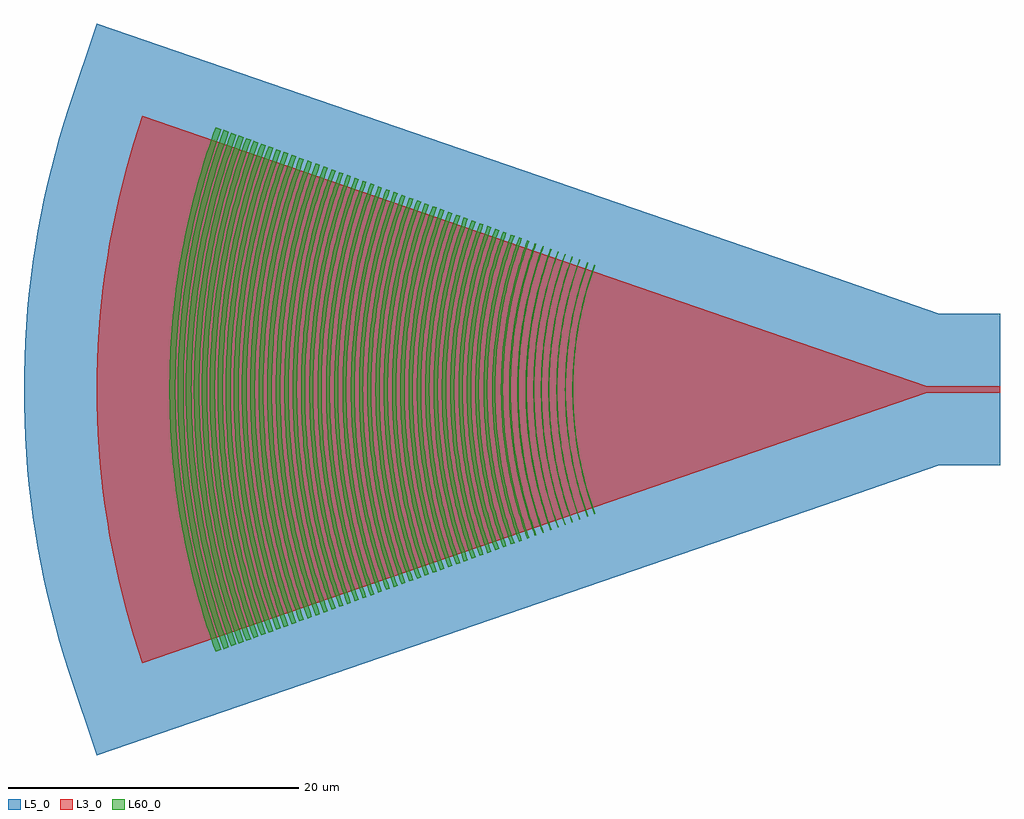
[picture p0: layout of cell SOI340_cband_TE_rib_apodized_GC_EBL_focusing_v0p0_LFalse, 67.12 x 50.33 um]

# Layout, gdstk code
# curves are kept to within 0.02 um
import gdstk
lib = gdstk.Library(unit=1e-6, precision=1e-09)
def P(c, l, *ps):  # polygons
    for p in ps: c.add(gdstk.Polygon(p, *l))
L3_0 = (3, 0)
L5_0 = (5, 0)
L60_0 = (60, 0)

soi340_cband_te_rib_apod = lib.new_cell('SOI340_cband_TE_rib_apodized_GC_EBL_focusing_v0p0_LFalse')
P(soi340_cband_te_rib_apod, L3_0, [(-58.971,-18.809),(-59.595,-16.891),(-60.403,-13.976),(-60.857,-12.011),(-61.408,-9.038),(-61.688,-7.041),(-61.899,-5.035),(-62.04,-3.024),(-62.119,0),(-62.04,3.024),(-61.899,5.035),(-61.688,7.041),(-61.408,9.038),(-60.857,12.011),(-60.403,13.976),(-59.595,16.891),(-58.971,18.809),(-5,0.225),(0,0.225),(0,-0.225),(-5,-0.225)])
P(soi340_cband_te_rib_apod, L5_0, [(-62.071,-25.164),(-62.125,-25.138),(-64.377,-18.353),(-65.255,-15.186),(-65.967,-11.975),(-66.509,-8.734),(-66.776,-6.562),(-67.033,-3.287),(-67.119,0),(-67.033,3.287),(-66.776,6.562),(-66.509,8.734),(-65.967,11.975),(-65.255,15.186),(-64.688,17.3),(-64.046,19.4),(-62.125,25.138),(-62.071,25.164),(-4.163,5.225),(0,5.225),(0,-5.225),(-4.163,-5.225)])
P(soi340_cband_te_rib_apod, L60_0, [(-27.895,-8.571),(-28.042,-8.159),(-28.247,-7.536),(-28.437,-6.908),(-28.553,-6.486),(-28.813,-5.424),(-28.947,-4.781),(-29.026,-4.351),(-29.131,-3.704),(-29.221,-3.054),(-29.312,-2.184),(-29.383,-1.093),(-29.407,0),(-29.383,1.093),(-29.312,2.184),(-29.221,3.054),(-29.131,3.704),(-29.026,4.351),(-28.947,4.781),(-28.813,5.424),(-28.553,6.486),(-28.437,6.908),(-28.247,7.536),(-28.042,8.159),(-27.895,8.571),(-27.839,8.551),(-28.055,7.933),(-28.255,7.309),(-28.438,6.681),(-28.604,6.048),(-28.801,5.198),(-29.004,4.126),(-29.161,3.047),(-29.252,2.179),(-29.323,1.09),(-29.347,0),(-29.323,-1.09),(-29.252,-2.179),(-29.161,-3.047),(-29.004,-4.126),(-28.801,-5.198),(-28.604,-6.048),(-28.438,-6.681),(-28.255,-7.309),(-28.055,-7.933),(-27.839,-8.551)],
  [(-28.373,-8.744),(-28.594,-8.113),(-28.731,-7.688),(-28.863,-7.262),(-29.044,-6.618),(-29.309,-5.534),(-29.402,-5.097),(-29.526,-4.439),(-29.634,-3.779),(-29.696,-3.337),(-29.751,-2.895),(-29.818,-2.228),(-29.891,-1.116),(-29.915,0),(-29.891,1.116),(-29.818,2.228),(-29.751,2.895),(-29.696,3.337),(-29.634,3.779),(-29.526,4.439),(-29.402,5.097),(-29.309,5.534),(-29.044,6.618),(-28.863,7.262),(-28.731,7.688),(-28.594,8.113),(-28.373,8.744),(-28.317,8.724),(-28.537,8.094),(-28.74,7.458),(-28.927,6.817),(-29.097,6.171),(-29.298,5.303),(-29.505,4.21),(-29.637,3.329),(-29.758,2.223),(-29.831,1.113),(-29.855,0),(-29.831,-1.113),(-29.758,-2.223),(-29.637,-3.329),(-29.505,-4.21),(-29.298,-5.303),(-29.097,-6.171),(-28.927,-6.817),(-28.74,-7.458),(-28.537,-8.094),(-28.317,-8.724)],
  [(-28.925,-8.945),(-29.078,-8.515),(-29.292,-7.865),(-29.426,-7.429),(-29.612,-6.77),(-29.883,-5.661),(-30.023,-4.99),(-30.106,-4.542),(-30.279,-3.414),(-30.335,-2.961),(-30.404,-2.279),(-30.478,-1.141),(-30.494,-0.685),(-30.503,0),(-30.494,0.685),(-30.478,1.141),(-30.404,2.279),(-30.36,2.734),(-30.279,3.414),(-30.106,4.542),(-30.023,4.99),(-29.883,5.661),(-29.612,6.77),(-29.49,7.21),(-29.292,7.865),(-29.078,8.515),(-28.925,8.945),(-28.869,8.925),(-29.094,8.28),(-29.303,7.63),(-29.612,6.534),(-29.873,5.426),(-30.047,4.532),(-30.22,3.406),(-30.344,2.274),(-30.418,1.138),(-30.434,0.683),(-30.443,0),(-30.434,-0.683),(-30.418,-1.138),(-30.344,-2.274),(-30.22,-3.406),(-30.047,-4.532),(-29.873,-5.426),(-29.612,-6.534),(-29.303,-7.63),(-29.094,-8.28),(-28.869,-8.925)],
  [(-29.443,-9.134),(-29.674,-8.474),(-29.818,-8.031),(-30.02,-7.362),(-30.144,-6.912),(-30.316,-6.235),(-30.421,-5.78),(-30.518,-5.325),(-30.648,-4.637),(-30.826,-3.486),(-30.883,-3.024),(-30.953,-2.327),(-31.029,-1.165),(-31.045,-0.7),(-31.054,0),(-31.045,0.7),(-31.029,1.165),(-30.953,2.327),(-30.883,3.024),(-30.826,3.486),(-30.648,4.637),(-30.518,5.325),(-30.421,5.78),(-30.316,6.235),(-30.144,6.912),(-30.02,7.362),(-29.818,8.031),(-29.674,8.474),(-29.443,9.134),(-29.387,9.114),(-29.617,8.455),(-29.83,7.791),(-30.025,7.121),(-30.202,6.446),(-30.412,5.54),(-30.629,4.398),(-30.766,3.478),(-30.823,3.017),(-30.893,2.322),(-30.969,1.162),(-30.985,0.698),(-30.994,0),(-30.985,-0.698),(-30.969,-1.162),(-30.893,-2.322),(-30.823,-3.017),(-30.766,-3.478),(-30.629,-4.398),(-30.412,-5.54),(-30.202,-6.446),(-30.025,-7.121),(-29.83,-7.791),(-29.617,-8.455),(-29.387,-9.114)],
  [(-29.928,-9.31),(-30.087,-8.863),(-30.31,-8.186),(-30.516,-7.504),(-30.642,-7.046),(-30.925,-5.892),(-31.024,-5.427),(-31.156,-4.727),(-31.235,-4.258),(-31.337,-3.553),(-31.395,-3.082),(-31.467,-2.372),(-31.504,-1.899),(-31.544,-1.188),(-31.561,-0.713),(-31.57,0),(-31.561,0.713),(-31.544,1.188),(-31.504,1.899),(-31.467,2.372),(-31.395,3.082),(-31.337,3.553),(-31.235,4.258),(-31.156,4.727),(-31.024,5.427),(-30.925,5.892),(-30.642,7.046),(-30.516,7.504),(-30.31,8.186),(-30.087,8.863),(-29.928,9.31),(-29.872,9.29),(-30.106,8.619),(-30.323,7.942),(-30.522,7.259),(-30.703,6.571),(-30.814,6.11),(-30.965,5.415),(-31.137,4.483),(-31.212,4.015),(-31.308,3.31),(-31.407,2.367),(-31.444,1.895),(-31.484,1.185),(-31.501,0.711),(-31.51,0),(-31.501,-0.711),(-31.484,-1.185),(-31.444,-1.895),(-31.407,-2.367),(-31.308,-3.31),(-31.212,-4.015),(-31.137,-4.483),(-30.965,-5.415),(-30.814,-6.11),(-30.703,-6.571),(-30.522,-7.259),(-30.323,-7.942),(-30.106,-8.619),(-29.872,-9.29)],
  [(-30.416,-9.487),(-30.655,-8.802),(-30.804,-8.342),(-31.014,-7.647),(-31.143,-7.18),(-31.264,-6.712),(-31.431,-6.004),(-31.531,-5.531),(-31.666,-4.817),(-31.783,-4.101),(-31.882,-3.38),(-31.983,-2.418),(-32.021,-1.935),(-32.062,-1.21),(-32.079,-0.727),(-32.088,0),(-32.079,0.727),(-32.062,1.21),(-32.021,1.935),(-31.983,2.418),(-31.882,3.38),(-31.783,4.101),(-31.666,4.817),(-31.531,5.531),(-31.431,6.004),(-31.264,6.712),(-31.143,7.18),(-31.014,7.647),(-30.804,8.342),(-30.655,8.802),(-30.416,9.487),(-30.359,9.467),(-30.598,8.783),(-30.818,8.093),(-31.021,7.397),(-31.206,6.697),(-31.423,5.755),(-31.519,5.282),(-31.648,4.569),(-31.759,3.852),(-31.822,3.373),(-31.923,2.413),(-31.961,1.931),(-32.002,1.207),(-32.019,0.725),(-32.028,0),(-32.019,-0.725),(-32.002,-1.207),(-31.961,-1.931),(-31.923,-2.413),(-31.822,-3.373),(-31.759,-3.852),(-31.648,-4.569),(-31.519,-5.282),(-31.423,-5.755),(-31.206,-6.697),(-31.021,-7.397),(-30.818,-8.093),(-30.598,-8.783),(-30.359,-9.467)],
  [(-30.921,-9.671),(-31.317,-8.503),(-31.662,-7.319),(-31.956,-6.121),(-32.197,-4.911),(-32.384,-3.691),(-32.519,-2.464),(-32.599,-1.234),(-32.626,0),(-32.599,1.234),(-32.519,2.464),(-32.384,3.691),(-32.197,4.911),(-31.956,6.121),(-31.662,7.319),(-31.317,8.503),(-30.921,9.671),(-30.842,9.643),(-31.085,8.946),(-31.31,8.243),(-31.644,7.059),(-31.926,5.862),(-32.155,4.654),(-32.301,3.68),(-32.435,2.457),(-32.515,1.23),(-32.542,0),(-32.515,-1.23),(-32.435,-2.457),(-32.301,-3.68),(-32.155,-4.654),(-31.926,-5.862),(-31.644,-7.059),(-31.31,-8.243),(-31.085,-8.946),(-30.842,-9.643)],
  [(-31.459,-9.867),(-31.863,-8.675),(-32.215,-7.468),(-32.514,-6.245),(-32.76,-5.01),(-32.951,-3.766),(-33.089,-2.515),(-33.171,-1.258),(-33.198,0),(-33.171,1.258),(-33.089,2.515),(-32.951,3.766),(-32.76,5.01),(-32.514,6.245),(-32.215,7.468),(-31.863,8.675),(-31.459,9.867),(-31.373,9.836),(-31.776,8.648),(-31.993,7.927),(-32.191,7.201),(-32.479,5.98),(-32.713,4.747),(-32.893,3.505),(-32.998,2.507),(-33.08,1.254),(-33.107,0),(-33.08,-1.254),(-32.998,-2.507),(-32.893,-3.505),(-32.713,-4.747),(-32.479,-5.98),(-32.191,-7.201),(-31.993,-7.927),(-31.776,-8.648),(-31.373,-9.836)],
  [(-31.986,-10.06),(-32.399,-8.845),(-32.758,-7.613),(-33.063,-6.366),(-33.313,-5.107),(-33.508,-3.839),(-33.649,-2.563),(-33.732,-1.283),(-33.76,0),(-33.732,1.283),(-33.649,2.563),(-33.508,3.839),(-33.313,5.107),(-33.063,6.366),(-32.758,7.613),(-32.399,8.845),(-31.986,10.06),(-31.877,10.02),(-32.288,8.81),(-32.646,7.583),(-32.95,6.341),(-33.242,4.835),(-33.426,3.57),(-33.533,2.553),(-33.616,1.278),(-33.644,0),(-33.616,-1.278),(-33.533,-2.553),(-33.426,-3.57),(-33.242,-4.835),(-32.95,-6.341),(-32.646,-7.583),(-32.288,-8.81),(-31.877,-10.02)],
  [(-32.511,-10.25),(-32.931,-9.012),(-33.364,-7.505),(-33.608,-6.487),(-33.863,-5.204),(-34.095,-3.653),(-34.226,-2.352),(-34.29,-1.307),(-34.318,0),(-34.29,1.307),(-34.226,2.352),(-34.095,3.653),(-33.863,5.204),(-33.608,6.487),(-33.364,7.505),(-32.931,9.012),(-32.511,10.25),(-32.381,10.203),(-32.799,8.971),(-33.23,7.47),(-33.528,6.203),(-33.813,4.667),(-33.958,3.636),(-34.088,2.341),(-34.152,1.301),(-34.18,0),(-34.152,-1.301),(-34.088,-2.341),(-33.958,-3.636),(-33.813,-4.667),(-33.528,-6.203),(-33.23,-7.47),(-32.799,-8.971),(-32.381,-10.203)],
  [(-33.078,-10.456),(-33.506,-9.194),(-33.879,-7.913),(-34.196,-6.617),(-34.457,-5.31),(-34.659,-3.991),(-34.804,-2.664),(-34.892,-1.334),(-34.921,0),(-34.892,1.334),(-34.804,2.664),(-34.659,3.991),(-34.457,5.31),(-34.196,6.617),(-33.879,7.913),(-33.506,9.194),(-33.078,10.456),(-32.88,10.385),(-33.306,9.131),(-33.744,7.603),(-34.101,6.054),(-34.337,4.75),(-34.485,3.7),(-34.617,2.382),(-34.693,1.06),(-34.711,0),(-34.693,-1.06),(-34.617,-2.382),(-34.485,-3.7),(-34.337,-4.75),(-34.101,-6.054),(-33.744,-7.603),(-33.306,-9.131),(-32.88,-10.385)],
  [(-33.632,-10.658),(-34.069,-9.371),(-34.378,-8.329),(-34.712,-7.01),(-34.99,-5.679),(-35.245,-4.068),(-35.368,-2.987),(-35.469,-1.631),(-35.511,0),(-35.469,1.631),(-35.368,2.987),(-35.245,4.068),(-34.99,5.679),(-34.712,7.01),(-34.378,8.329),(-34.069,9.371),(-33.632,10.658),(-33.387,10.57),(-33.821,9.293),(-34.267,7.738),(-34.631,6.161),(-34.912,4.568),(-35.082,3.23),(-35.176,2.156),(-35.251,0),(-35.176,-2.156),(-35.082,-3.23),(-34.912,-4.568),(-34.631,-6.161),(-34.267,-7.738),(-33.821,-9.293),(-33.387,-10.57)],
  [(-34.171,-10.854),(-34.617,-9.543),(-35.004,-8.214),(-35.333,-6.87),(-35.603,-5.511),(-35.814,-4.142),(-35.964,-2.767),(-36.055,-1.385),(-36.085,0),(-36.055,1.385),(-35.964,2.767),(-35.814,4.142),(-35.603,5.511),(-35.333,6.87),(-35.004,8.214),(-34.617,9.543),(-34.171,10.854),(-33.938,10.77),(-34.461,9.207),(-34.902,7.618),(-35.205,6.278),(-35.491,4.655),(-35.74,2.471),(-35.818,1.099),(-35.837,0),(-35.818,-1.099),(-35.74,-2.471),(-35.491,-4.655),(-35.205,-6.278),(-34.902,-7.618),(-34.461,-9.207),(-33.938,-10.77)],
  [(-34.718,-11.052),(-35.17,-9.719),(-35.565,-8.365),(-35.9,-6.995),(-36.175,-5.612),(-36.389,-4.219),(-36.543,-2.816),(-36.636,-1.41),(-36.666,0),(-36.636,1.41),(-36.543,2.816),(-36.389,4.219),(-36.175,5.612),(-35.9,6.995),(-35.565,8.365),(-35.17,9.719),(-34.718,11.052),(-34.44,10.953),(-34.972,9.363),(-35.42,7.747),(-35.783,6.11),(-36.019,4.733),(-36.196,3.347),(-36.293,2.234),(-36.371,0),(-36.293,-2.234),(-36.196,-3.347),(-36.019,-4.733),(-35.783,-6.11),(-35.42,-7.747),(-34.972,-9.363),(-34.44,-10.953)],
  [(-35.247,-11.245),(-35.708,-9.888),(-36.109,-8.511),(-36.388,-7.397),(-36.731,-5.711),(-36.949,-4.292),(-37.105,-2.866),(-37.199,-1.435),(-37.23,0),(-37.199,1.435),(-37.105,2.866),(-36.949,4.292),(-36.731,5.711),(-36.388,7.397),(-36.109,8.511),(-35.708,9.888),(-35.247,11.245),(-34.979,11.149),(-35.521,9.531),(-35.907,8.162),(-36.291,6.499),(-36.587,4.818),(-36.845,2.558),(-36.914,1.422),(-36.945,0),(-36.914,-1.422),(-36.845,-2.558),(-36.587,-4.818),(-36.291,-6.499),(-35.907,-8.162),(-35.521,-9.531),(-34.979,-11.149)],
  [(-35.787,-11.442),(-36.256,-10.061),(-36.665,-8.66),(-37.012,-7.242),(-37.297,-5.81),(-37.519,-4.367),(-37.678,-2.917),(-37.773,-1.459),(-37.805,0),(-37.773,1.459),(-37.678,2.917),(-37.519,4.367),(-37.297,5.81),(-37.012,7.242),(-36.665,8.66),(-36.256,10.061),(-35.787,11.442),(-35.523,11.347),(-36.074,9.7),(-36.539,8.026),(-36.858,6.614),(-37.16,4.904),(-37.311,3.756),(-37.422,2.603),(-37.504,1.158),(-37.524,0),(-37.504,-1.158),(-37.422,-2.603),(-37.311,-3.756),(-37.16,-4.904),(-36.858,-6.614),(-36.539,-8.026),(-36.074,-9.7),(-35.523,-11.347)],
  [(-36.332,-11.641),(-36.809,-10.236),(-37.225,-8.81),(-37.578,-7.368),(-37.867,-5.911),(-38.132,-4.148),(-38.256,-2.967),(-38.353,-1.485),(-38.385,0),(-38.353,1.485),(-38.256,2.967),(-38.132,4.148),(-37.867,5.911),(-37.578,7.368),(-37.225,8.81),(-36.809,10.236),(-36.332,11.641),(-36.052,11.54),(-36.613,9.865),(-37.085,8.162),(-37.41,6.727),(-37.716,4.987),(-37.87,3.819),(-38.005,2.354),(-38.066,1.178),(-38.087,0),(-38.066,-1.178),(-38.005,-2.354),(-37.87,-3.819),(-37.716,-4.987),(-37.41,-6.727),(-37.085,-8.162),(-36.613,-9.865),(-36.052,-11.54)],
  [(-36.863,-11.833),(-37.348,-10.405),(-37.77,-8.956),(-38.129,-7.488),(-38.424,-6.008),(-38.653,-4.517),(-38.817,-3.015),(-38.916,-1.51),(-38.949,0),(-38.916,1.51),(-38.817,3.015),(-38.653,4.517),(-38.424,6.008),(-38.129,7.488),(-37.77,8.956),(-37.348,10.405),(-36.863,11.833),(-36.59,11.735),(-37.16,10.032),(-37.64,8.301),(-38.029,6.547),(-38.282,5.072),(-38.438,3.884),(-38.553,2.692),(-38.638,1.197),(-38.659,0),(-38.638,-1.197),(-38.553,-2.692),(-38.438,-3.884),(-38.282,-5.072),(-38.029,-6.547),(-37.64,-8.301),(-37.16,-10.032),(-36.59,-11.735)],
  [(-37.405,-12.031),(-37.898,-10.579),(-38.327,-9.105),(-38.692,-7.614),(-38.992,-6.109),(-39.225,-4.592),(-39.392,-3.066),(-39.493,-1.535),(-39.526,0),(-39.493,1.535),(-39.392,3.066),(-39.225,4.592),(-38.992,6.109),(-38.692,7.614),(-38.327,9.105),(-37.898,10.579),(-37.405,12.031),(-37.13,11.932),(-37.71,10.2),(-38.198,8.44),(-38.534,6.955),(-38.851,5.157),(-39.01,3.949),(-39.149,2.434),(-39.213,1.218),(-39.234,0),(-39.213,-1.218),(-39.149,-2.434),(-39.01,-3.949),(-38.851,-5.157),(-38.534,-6.955),(-38.198,-8.44),(-37.71,-10.2),(-37.13,-11.932)],
  [(-37.946,-12.227),(-38.446,-10.752),(-38.883,-9.254),(-39.253,-7.739),(-39.557,-6.208),(-39.795,-4.667),(-39.965,-3.116),(-40.067,-1.56),(-40.101,0),(-40.067,1.56),(-39.965,3.116),(-39.795,4.667),(-39.557,6.208),(-39.253,7.739),(-38.883,9.254),(-38.446,10.752),(-37.946,12.227),(-37.668,12.128),(-38.257,10.367),(-38.677,8.878),(-39.094,7.069),(-39.417,5.241),(-39.612,3.706),(-39.72,2.473),(-39.784,1.238),(-39.806,0),(-39.784,-1.238),(-39.72,-2.473),(-39.612,-3.706),(-39.417,-5.241),(-39.094,-7.069),(-38.677,-8.878),(-38.257,-10.367),(-37.668,-12.128)],
  [(-38.477,-12.421),(-38.986,-10.922),(-39.429,-9.4),(-39.806,-7.861),(-40.116,-6.307),(-40.357,-4.74),(-40.529,-3.165),(-40.633,-1.584),(-40.667,0),(-40.633,1.584),(-40.529,3.165),(-40.357,4.74),(-40.116,6.307),(-39.806,7.861),(-39.429,9.4),(-38.986,10.922),(-38.477,12.421),(-38.207,12.324),(-38.806,10.535),(-39.31,8.717),(-39.657,7.184),(-39.984,5.326),(-40.148,4.079),(-40.269,2.827),(-40.346,1.572),(-40.38,0),(-40.346,-1.572),(-40.269,-2.827),(-40.148,-4.079),(-39.984,-5.326),(-39.657,-7.184),(-39.31,-8.717),(-38.806,-10.535),(-38.207,-12.324)],
  [(-39.02,-12.619),(-39.536,-11.095),(-39.987,-9.549),(-40.369,-7.986),(-40.684,-6.407),(-40.928,-4.816),(-41.104,-3.216),(-41.209,-1.61),(-41.244,0),(-41.209,1.61),(-41.104,3.216),(-40.928,4.816),(-40.684,6.407),(-40.369,7.986),(-39.987,9.549),(-39.536,11.095),(-39.02,12.619),(-38.742,12.519),(-39.35,10.701),(-39.862,8.855),(-40.277,6.984),(-40.547,5.41),(-40.714,4.143),(-40.86,2.553),(-40.927,1.277),(-40.949,0),(-40.927,-1.277),(-40.86,-2.553),(-40.714,-4.143),(-40.547,-5.41),(-40.277,-6.984),(-39.862,-8.855),(-39.35,-10.701),(-38.742,-12.519)],
  [(-39.549,-12.811),(-40.074,-11.265),(-40.531,-9.696),(-40.92,-8.109),(-41.239,-6.505),(-41.488,-4.89),(-41.666,-3.265),(-41.773,-1.634),(-41.808,0),(-41.773,1.634),(-41.666,3.265),(-41.488,4.89),(-41.239,6.505),(-40.92,8.109),(-40.531,9.696),(-40.074,11.265),(-39.549,12.811),(-39.282,12.715),(-39.9,10.87),(-40.42,8.994),(-40.778,7.412),(-41.116,5.495),(-41.285,4.209),(-41.409,2.917),(-41.489,1.622),(-41.524,0),(-41.489,-1.622),(-41.409,-2.917),(-41.285,-4.209),(-41.116,-5.495),(-40.778,-7.412),(-40.42,-8.994),(-39.9,-10.87),(-39.282,-12.715)],
  [(-40.09,-13.008),(-40.623,-11.437),(-41.087,-9.844),(-41.481,-8.233),(-41.806,-6.605),(-42.058,-4.965),(-42.238,-3.316),(-42.347,-1.659),(-42.383,0),(-42.347,1.659),(-42.238,3.316),(-42.058,4.965),(-41.806,6.605),(-41.481,8.233),(-41.087,9.844),(-40.623,11.437),(-40.09,13.008),(-39.817,12.91),(-40.444,11.036),(-40.891,9.451),(-41.268,7.848),(-41.628,5.905),(-41.812,4.6),(-41.977,2.962),(-42.07,1.317),(-42.093,0),(-42.07,-1.317),(-41.977,-2.962),(-41.812,-4.6),(-41.628,-5.905),(-41.268,-7.848),(-40.891,-9.451),(-40.444,-11.036),(-39.817,-12.91)],
  [(-40.623,-13.202),(-41.164,-11.609),(-41.635,-9.991),(-42.036,-8.356),(-42.365,-6.703),(-42.621,-5.039),(-42.804,-3.365),(-42.915,-1.684),(-42.951,0),(-42.915,1.684),(-42.804,3.365),(-42.621,5.039),(-42.365,6.703),(-42.036,8.356),(-41.635,9.991),(-41.164,11.609),(-40.623,13.202),(-40.356,13.106),(-40.993,11.204),(-41.446,9.595),(-41.83,7.967),(-42.195,5.995),(-42.421,4.338),(-42.549,3.007),(-42.631,1.671),(-42.667,0),(-42.631,-1.671),(-42.549,-3.007),(-42.421,-4.338),(-42.195,-5.995),(-41.83,-7.967),(-41.446,-9.595),(-40.993,-11.204),(-40.356,-13.106)],
  [(-41.15,-13.393),(-41.698,-11.777),(-42.177,-10.136),(-42.582,-8.477),(-42.916,-6.801),(-43.176,-5.112),(-43.362,-3.413),(-43.474,-1.708),(-43.511,0),(-43.474,1.708),(-43.362,3.413),(-43.176,5.112),(-42.916,6.801),(-42.582,8.477),(-42.177,10.136),(-41.698,11.777),(-41.15,13.393),(-40.891,13.301),(-41.537,11.37),(-41.997,9.737),(-42.386,8.085),(-42.757,6.084),(-42.986,4.402),(-43.116,3.051),(-43.199,1.696),(-43.236,0),(-43.199,-1.696),(-43.116,-3.051),(-42.986,-4.402),(-42.757,-6.084),(-42.386,-8.085),(-41.997,-9.737),(-41.537,-11.37),(-40.891,-13.301)],
  [(-41.682,-13.588),(-42.24,-11.947),(-42.724,-10.283),(-43.137,-8.599),(-43.474,-6.899),(-43.738,-5.186),(-43.927,-3.463),(-44.04,-1.733),(-44.078,0),(-44.04,1.733),(-43.927,3.463),(-43.738,5.186),(-43.474,6.899),(-43.137,8.599),(-42.724,10.283),(-42.24,11.947),(-41.682,13.588),(-41.428,13.496),(-41.982,11.866),(-42.551,9.88),(-42.946,8.204),(-43.322,6.173),(-43.514,4.809),(-43.686,3.096),(-43.784,1.377),(-43.808,0),(-43.784,-1.377),(-43.686,-3.096),(-43.514,-4.809),(-43.322,-6.173),(-42.946,-8.204),(-42.551,-9.88),(-41.982,-11.866),(-41.428,-13.496)],
  [(-42.213,-13.781),(-42.777,-12.117),(-43.269,-10.429),(-43.687,-8.722),(-44.03,-6.997),(-44.298,-5.26),(-44.489,-3.512),(-44.604,-1.758),(-44.642,0),(-44.604,1.758),(-44.489,3.512),(-44.298,5.26),(-44.03,6.997),(-43.687,8.722),(-43.269,10.429),(-42.777,12.117),(-42.213,13.781),(-41.965,13.692),(-42.63,11.704),(-43.104,10.023),(-43.504,8.323),(-43.886,6.262),(-44.081,4.879),(-44.256,3.141),(-44.355,1.397),(-44.379,0),(-44.355,-1.397),(-44.256,-3.141),(-44.081,-4.879),(-43.886,-6.262),(-43.504,-8.323),(-43.104,-10.023),(-42.63,-11.704),(-41.965,-13.692)],
  [(-42.746,-13.975),(-43.319,-12.288),(-43.817,-10.576),(-44.242,-8.844),(-44.589,-7.096),(-44.861,-5.334),(-45.054,-3.562),(-45.171,-1.782),(-45.21,0),(-45.171,1.782),(-45.054,3.562),(-44.861,5.334),(-44.589,7.096),(-44.242,8.844),(-43.817,10.576),(-43.319,12.288),(-42.746,13.975),(-42.501,13.887),(-43.071,12.21),(-43.657,10.166),(-44.063,8.442),(-44.45,6.352),(-44.689,4.596),(-44.825,3.186),(-44.925,1.417),(-44.95,0),(-44.925,-1.417),(-44.825,-3.186),(-44.689,-4.596),(-44.45,-6.352),(-44.063,-8.442),(-43.657,-10.166),(-43.071,-12.21),(-42.501,-13.887)],
  [(-43.283,-14.17),(-43.863,-12.459),(-44.369,-10.724),(-44.799,-8.967),(-45.151,-7.195),(-45.427,-5.408),(-45.623,-3.611),(-45.742,-1.807),(-45.781,0),(-45.742,1.807),(-45.623,3.611),(-45.427,5.408),(-45.151,7.195),(-44.799,8.967),(-44.369,10.724),(-43.863,12.459),(-43.283,14.17),(-43.037,14.082),(-43.721,12.038),(-44.209,10.309),(-44.693,8.209),(-45.013,6.441),(-45.213,5.018),(-45.393,3.23),(-45.481,1.796),(-45.52,0),(-45.481,-1.796),(-45.393,-3.23),(-45.213,-5.018),(-45.013,-6.441),(-44.693,-8.209),(-44.209,-10.309),(-43.721,-12.038),(-43.037,-14.082)],
  [(-43.815,-14.364),(-44.404,-12.63),(-44.917,-10.871),(-45.353,-9.09),(-45.71,-7.293),(-45.989,-5.483),(-46.188,-3.661),(-46.308,-1.832),(-46.348,0),(-46.308,1.832),(-46.188,3.661),(-45.989,5.483),(-45.71,7.293),(-45.353,9.09),(-44.917,10.871),(-44.404,12.63),(-43.815,14.364),(-43.566,14.275),(-44.151,12.55),(-44.754,10.45),(-45.245,8.321),(-45.569,6.529),(-45.815,4.725),(-45.954,3.275),(-46.058,1.457),(-46.083,0),(-46.058,-1.457),(-45.954,-3.275),(-45.815,-4.725),(-45.569,-6.529),(-45.245,-8.321),(-44.754,-10.45),(-44.151,-12.55),(-43.566,-14.275)],
  [(-44.359,-14.561),(-44.955,-12.804),(-45.475,-11.02),(-45.917,-9.215),(-46.279,-7.394),(-46.562,-5.558),(-46.764,-3.711),(-46.886,-1.857),(-46.926,0),(-46.886,1.857),(-46.764,3.711),(-46.562,5.558),(-46.279,7.394),(-45.917,9.215),(-45.475,11.02),(-44.955,12.804),(-44.359,14.561),(-44.104,14.47),(-44.697,12.722),(-45.307,10.593),(-45.806,8.435),(-46.134,6.618),(-46.34,5.156),(-46.525,3.319),(-46.615,1.845),(-46.655,0),(-46.615,-1.845),(-46.525,-3.319),(-46.34,-5.156),(-46.134,-6.618),(-45.806,-8.435),(-45.307,-10.593),(-44.697,-12.722),(-44.104,-14.47)],
  [(-44.896,-14.757),(-45.5,-12.975),(-46.028,-11.168),(-46.476,-9.34),(-46.843,-7.493),(-47.129,-5.632),(-47.334,-3.761),(-47.457,-1.882),(-47.498,0),(-47.457,1.882),(-47.334,3.761),(-47.129,5.632),(-46.843,7.493),(-46.476,9.34),(-46.028,11.168),(-45.5,12.975),(-44.896,14.757),(-44.641,14.666),(-45.353,12.537),(-45.861,10.736),(-46.29,8.915),(-46.699,6.708),(-46.907,5.226),(-47.095,3.364),(-47.201,1.496),(-47.227,0),(-47.201,-1.496),(-47.095,-3.364),(-46.907,-5.226),(-46.699,-6.708),(-46.29,-8.915),(-45.861,-10.736),(-45.353,-12.537),(-44.641,-14.666)],
  [(-45.431,-14.952),(-46.043,-13.147),(-46.578,-11.315),(-47.03,-9.462),(-47.403,-7.591),(-47.693,-5.706),(-47.901,-3.81),(-48.026,-1.908),(-48.067,0),(-48.026,1.908),(-47.901,3.81),(-47.693,5.706),(-47.403,7.591),(-47.03,9.462),(-46.578,11.315),(-46.043,13.147),(-45.431,14.952),(-45.168,14.858),(-45.89,12.701),(-46.404,10.877),(-46.839,9.032),(-47.253,6.796),(-47.509,4.918),(-47.654,3.408),(-47.762,1.516),(-47.788,0),(-47.762,-1.516),(-47.654,-3.408),(-47.509,-4.918),(-47.253,-6.796),(-46.839,-9.032),(-46.404,-10.877),(-45.89,-12.701),(-45.168,-14.858)],
  [(-45.967,-15.147),(-46.588,-13.318),(-47.129,-11.463),(-47.588,-9.586),(-47.965,-7.691),(-48.26,-5.781),(-48.47,-3.86),(-48.596,-1.931),(-48.638,0),(-48.596,1.931),(-48.47,3.86),(-48.26,5.781),(-47.965,7.691),(-47.588,9.586),(-47.129,11.463),(-46.588,13.318),(-45.967,15.147),(-45.697,15.05),(-46.428,12.866),(-46.949,11.018),(-47.468,8.773),(-47.809,6.884),(-48.023,5.363),(-48.215,3.453),(-48.309,1.919),(-48.351,0),(-48.309,-1.919),(-48.215,-3.453),(-48.023,-5.363),(-47.809,-6.884),(-47.468,-8.773),(-46.949,-11.018),(-46.428,-12.866),(-45.697,-15.05)],
  [(-46.509,-15.344),(-47.138,-13.492),(-47.686,-11.613),(-48.152,-9.711),(-48.533,-7.791),(-48.831,-5.857),(-49.044,-3.91),(-49.173,-1.957),(-49.215,0),(-49.173,1.957),(-49.044,3.91),(-48.831,5.857),(-48.533,7.791),(-48.152,9.711),(-47.686,11.613),(-47.138,13.492),(-46.509,15.344),(-46.225,15.242),(-46.966,13.03),(-47.493,11.158),(-47.939,9.266),(-48.364,6.972),(-48.627,5.045),(-48.776,3.497),(-48.871,1.944),(-48.913,0),(-48.871,-1.944),(-48.776,-3.497),(-48.627,-5.045),(-48.364,-6.972),(-47.939,-9.266),(-47.493,-11.158),(-46.966,-13.03),(-46.225,-15.242)],
  [(-47.063,-15.546),(-47.7,-13.669),(-48.255,-11.765),(-48.726,-9.839),(-49.113,-7.894),(-49.415,-5.933),(-49.631,-3.962),(-49.761,-1.983),(-49.804,0),(-49.761,1.983),(-49.631,3.962),(-49.415,5.933),(-49.113,7.894),(-48.726,9.839),(-48.255,11.765),(-47.7,13.669),(-47.063,15.546),(-46.766,15.439),(-47.516,13.198),(-48.05,11.302),(-48.502,9.385),(-48.932,7.062),(-49.152,5.501),(-49.349,3.542),(-49.461,1.575),(-49.488,0),(-49.461,-1.575),(-49.349,-3.542),(-49.152,-5.501),(-48.932,-7.062),(-48.502,-9.385),(-48.05,-11.302),(-47.516,-13.198),(-46.766,-15.439)],
  [(-47.62,-15.749),(-48.266,-13.848),(-48.828,-11.919),(-49.305,-9.967),(-49.697,-7.997),(-50.003,-6.01),(-50.222,-4.014),(-50.353,-2.008),(-50.397,0),(-50.353,2.008),(-50.222,4.014),(-50.003,6.01),(-49.697,7.997),(-49.305,9.967),(-48.828,11.919),(-48.266,13.848),(-47.62,15.749),(-47.314,15.639),(-47.956,13.75),(-48.616,11.449),(-49.073,9.507),(-49.509,7.153),(-49.778,5.176),(-49.931,3.588),(-50.044,1.596),(-50.072,0),(-50.044,-1.596),(-49.931,-3.588),(-49.778,-5.176),(-49.509,-7.153),(-49.073,-9.507),(-48.616,-11.449),(-47.956,-13.75),(-47.314,-15.639)],
  [(-48.174,-15.95),(-48.828,-14.025),(-49.397,-12.071),(-49.88,-10.095),(-50.277,-8.099),(-50.587,-6.088),(-50.809,-4.064),(-50.942,-2.034),(-50.986,0),(-50.942,2.034),(-50.809,4.064),(-50.587,6.088),(-50.277,8.099),(-49.88,10.095),(-49.397,12.071),(-48.828,14.025),(-48.174,15.95),(-47.865,15.839),(-48.515,13.926),(-49.183,11.595),(-49.646,9.629),(-50.088,7.245),(-50.313,5.644),(-50.515,3.634),(-50.63,1.616),(-50.658,0),(-50.63,-1.616),(-50.515,-3.634),(-50.313,-5.644),(-50.088,-7.245),(-49.646,-9.629),(-49.183,-11.595),(-48.515,-13.926),(-47.865,-15.839)],
  [(-48.719,-16.148),(-49.381,-14.199),(-49.957,-12.221),(-50.447,-10.22),(-50.849,-8.199),(-51.162,-6.163),(-51.387,-4.116),(-51.521,-2.059),(-51.566,0),(-51.521,2.059),(-51.387,4.116),(-51.162,6.163),(-50.849,8.199),(-50.447,10.22),(-49.957,12.221),(-49.381,14.199),(-48.719,16.148),(-48.409,16.037),(-49.067,14.1),(-49.743,11.74),(-50.296,9.348),(-50.66,7.335),(-50.936,5.308),(-51.092,3.679),(-51.192,2.045),(-51.237,0),(-51.192,-2.045),(-51.092,-3.679),(-50.936,-5.308),(-50.66,-7.335),(-50.296,-9.348),(-49.743,-11.74),(-49.067,-14.1),(-48.409,-16.037)],
  [(-49.255,-16.344),(-49.924,-14.371),(-50.508,-12.369),(-51.003,-10.344),(-51.41,-8.299),(-51.727,-6.238),(-51.954,-4.165),(-52.091,-2.084),(-52.136,0),(-52.091,2.084),(-51.954,4.165),(-51.727,6.238),(-51.41,8.299),(-51.003,10.344),(-50.508,12.369),(-49.924,14.371),(-49.255,16.344),(-48.943,16.232),(-49.731,13.875),(-50.293,11.883),(-50.768,9.867),(-51.221,7.424),(-51.5,5.372),(-51.659,3.724),(-51.76,2.07),(-51.805,0),(-51.76,-2.07),(-51.659,-3.724),(-51.5,-5.372),(-51.221,-7.424),(-50.768,-9.867),(-50.293,-11.883),(-49.731,-13.875),(-48.943,-16.232)],
  [(-49.78,-16.535),(-50.458,-14.539),(-51.049,-12.514),(-51.55,-10.465),(-51.962,-8.396),(-52.282,-6.311),(-52.512,-4.214),(-52.65,-2.109),(-52.696,0),(-52.65,2.109),(-52.512,4.214),(-52.282,6.311),(-51.962,8.396),(-51.55,10.465),(-51.049,12.514),(-50.458,14.539),(-49.78,16.535),(-49.465,16.422),(-50.139,14.438),(-50.832,12.022),(-51.312,9.983),(-51.77,7.511),(-52.003,5.851),(-52.213,3.767),(-52.332,1.676),(-52.361,0),(-52.332,-1.676),(-52.213,-3.767),(-52.003,-5.851),(-51.77,-7.511),(-51.312,-9.983),(-50.832,-12.022),(-50.139,-14.438),(-49.465,-16.422)],
  [(-50.301,-16.725),(-50.986,-14.706),(-51.583,-12.657),(-52.091,-10.585),(-52.507,-8.492),(-52.832,-6.384),(-53.064,-4.262),(-53.204,-2.133),(-53.25,0),(-53.204,2.133),(-53.064,4.262),(-52.832,6.384),(-52.507,8.492),(-52.091,10.585),(-51.583,12.657),(-50.986,14.706),(-50.301,16.725),(-49.98,16.609),(-50.787,14.198),(-51.362,12.159),(-51.848,10.097),(-52.311,7.597),(-52.597,5.497),(-52.759,3.81),(-52.863,2.118),(-52.909,0),(-52.863,-2.118),(-52.759,-3.81),(-52.597,-5.497),(-52.311,-7.597),(-51.848,-10.097),(-51.362,-12.159),(-50.787,-14.198),(-49.98,-16.609)],
  [(-50.817,-16.912),(-51.51,-14.871),(-52.114,-12.799),(-52.627,-10.704),(-53.048,-8.588),(-53.376,-6.455),(-53.611,-4.311),(-53.752,-2.157),(-53.799,0),(-53.752,2.157),(-53.611,4.311),(-53.376,6.455),(-53.048,8.588),(-52.627,10.704),(-52.114,12.799),(-51.51,14.871),(-50.817,16.912),(-50.489,16.794),(-51.177,14.766),(-51.886,12.294),(-52.464,9.79),(-52.911,7.258),(-53.134,5.559),(-53.299,3.853),(-53.42,1.714),(-53.45,0),(-53.42,-1.714),(-53.299,-3.853),(-53.134,-5.559),(-52.911,-7.258),(-52.464,-9.79),(-51.886,-12.294),(-51.177,-14.766),(-50.489,-16.794)],
  [(-51.33,-17.1),(-52.03,-15.035),(-52.641,-12.94),(-53.16,-10.821),(-53.586,-8.682),(-53.917,-6.526),(-54.155,-4.358),(-54.298,-2.181),(-54.345,0),(-54.298,2.181),(-54.155,4.358),(-53.917,6.526),(-53.586,8.682),(-53.16,10.821),(-52.641,12.94),(-52.03,15.035),(-51.33,17.1),(-50.995,16.979),(-51.82,14.514),(-52.408,12.429),(-52.904,10.321),(-53.378,7.766),(-53.67,5.62),(-53.836,3.895),(-53.942,2.165),(-53.989,0),(-53.942,-2.165),(-53.836,-3.895),(-53.67,-5.62),(-53.378,-7.766),(-52.904,-10.321),(-52.408,-12.429),(-51.82,-14.514),(-50.995,-16.979)],
  [(-51.842,-17.285),(-52.55,-15.199),(-53.167,-13.082),(-53.691,-10.939),(-54.121,-8.776),(-54.457,-6.597),(-54.697,-4.405),(-54.841,-2.205),(-54.889,0),(-54.841,2.205),(-54.697,4.405),(-54.457,6.597),(-54.121,8.776),(-53.691,10.939),(-53.167,13.082),(-52.55,15.199),(-51.842,17.285),(-51.498,17.162),(-52.202,15.089),(-52.926,12.563),(-53.517,10.004),(-53.906,7.849),(-54.15,6.115),(-54.369,3.937),(-54.476,2.189),(-54.524,0),(-54.476,-2.189),(-54.369,-3.937),(-54.15,-6.115),(-53.906,-7.849),(-53.517,-10.004),(-52.926,-12.563),(-52.202,-15.089),(-51.498,-17.162)],
  [(-52.356,-17.471),(-53.072,-15.363),(-53.695,-13.223),(-54.225,-11.058),(-54.66,-8.871),(-54.999,-6.669),(-55.242,-4.453),(-55.388,-2.229),(-55.436,0),(-55.388,2.229),(-55.242,4.453),(-54.999,6.669),(-54.66,8.871),(-54.225,11.058),(-53.695,13.223),(-53.072,15.363),(-52.356,17.471),(-52.003,17.345),(-52.714,15.25),(-53.446,12.698),(-53.953,10.544),(-54.437,7.933),(-54.735,5.741),(-54.905,3.979),(-55.013,2.212),(-55.061,0),(-55.013,-2.212),(-54.905,-3.979),(-54.735,-5.741),(-54.437,-7.933),(-53.953,-10.544),(-53.446,-12.698),(-52.714,-15.25),(-52.003,-17.345)],
  [(-52.873,-17.66),(-53.597,-15.528),(-54.228,-13.366),(-54.763,-11.177),(-55.202,-8.967),(-55.546,-6.74),(-55.791,-4.501),(-55.938,-2.253),(-55.987,0),(-55.938,2.253),(-55.791,4.501),(-55.546,6.74),(-55.202,8.967),(-54.763,11.177),(-54.228,13.366),(-53.597,15.528),(-52.873,17.66),(-52.51,17.53),(-53.229,15.412),(-53.968,12.833),(-54.481,10.656),(-54.97,8.018),(-55.272,5.802),(-55.443,4.021),(-55.57,1.789),(-55.601,0),(-55.57,-1.789),(-55.443,-4.021),(-55.272,-5.802),(-54.97,-8.018),(-54.481,-10.656),(-53.968,-12.833),(-53.229,-15.412),(-52.51,-17.53)],
  [(-53.399,-17.852),(-54.131,-15.697),(-54.768,-13.51),(-55.31,-11.298),(-55.754,-9.064),(-56.101,-6.813),(-56.349,-4.549),(-56.498,-2.277),(-56.547,0),(-56.498,2.277),(-56.349,4.549),(-56.101,6.813),(-55.754,9.064),(-55.31,11.298),(-54.768,13.51),(-54.131,15.697),(-53.399,17.852),(-53.024,17.717),(-53.885,15.145),(-54.498,12.97),(-55.108,10.327),(-55.579,7.657),(-55.815,5.864),(-56.022,3.613),(-56.116,1.808),(-56.148,0),(-56.116,-1.808),(-56.022,-3.613),(-55.815,-5.864),(-55.579,-7.657),(-55.108,-10.327),(-54.498,-12.97),(-53.885,-15.145),(-53.024,-17.717)],
  [(-53.937,-18.048),(-54.677,-15.869),(-55.321,-13.659),(-55.868,-11.422),(-56.318,-9.164),(-56.667,-6.888),(-56.918,-4.599),(-57.069,-2.302),(-57.119,0),(-57.069,2.302),(-56.918,4.599),(-56.667,6.888),(-56.318,9.164),(-55.868,11.422),(-55.321,13.659),(-54.677,15.869),(-53.937,18.048),(-53.548,17.908),(-54.418,15.308),(-55.151,12.667),(-55.655,10.439),(-56.131,7.739),(-56.369,5.927),(-56.545,4.108),(-56.674,1.827),(-56.706,0),(-56.674,-1.827),(-56.545,-4.108),(-56.369,-5.927),(-56.131,-7.739),(-55.655,-10.439),(-55.151,-12.667),(-54.418,-15.308),(-53.548,-17.908)])

lib.write_gds('SOI340_cband_TE_rib_apodized_GC_EBL_focusing_v0p0_LFalse.gds')
